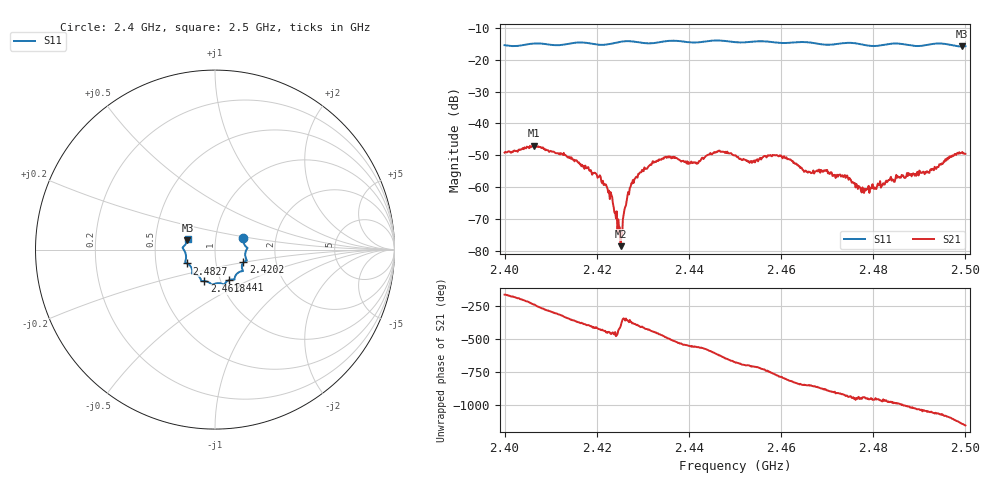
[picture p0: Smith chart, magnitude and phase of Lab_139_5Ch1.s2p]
# Hz S RI R 50
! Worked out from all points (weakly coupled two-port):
!   601 points, 2.4 GHz to 2.5 GHz, reference 50 ohm
!   highest |S21| = -47.01 dB at 2.4063 GHz (marker M1); lowest = -78.6 dB at 2.4252 GHz (marker M2)
!   lowest |S11| = -15.8 dB at 2.4993 GHz (marker M3), VSWR 1.39, Z = 36.5 + j3.85 ohm
!   |S11| at or under -10 dB: start of sweep to end of sweep
!   S12 and S22 are empty: the file has one direction only
!   S11 on the Smith chart (normalised r, x): 2.4 GHz: 1.36, +0.18; 2.4202 GHz: 1.36, -0.20; 2.441 GHz: 1.10, -0.39; 2.4618 GHz: 0.84, -0.30; 2.4827 GHz: 0.72, -0.11; 2.5 GHz: 0.73, +0.09
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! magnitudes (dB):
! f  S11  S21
! 2.4 GHz  -15.4  -49.1
! 2.4063 GHz  -14.9  -47.0
! 2.4167 GHz  -14.5  -53.4
! 2.4202 GHz  -15.2  -57.0
! 2.4228 GHz  -15.0  -63.8
! 2.4252 GHz  -14.3  -78.6
! 2.4277 GHz  -14.2  -58.9
! 2.4333 GHz  -14.5  -51.8
! 2.441 GHz  -14.6  -52.4
! 2.4462 GHz  -13.9  -48.9
! 2.45 GHz  -14.4  -50.0
! 2.4533 GHz  -14.4  -51.9
! 2.4587 GHz  -14.5  -50.0
! 2.4618 GHz  -14.6  -51.4
! 2.4667 GHz  -14.6  -55.6
! 2.4738 GHz  -14.7  -56.2
! 2.4778 GHz  -15.3  -61.5
! 2.4827 GHz  -15.2  -58.4
! 2.4833 GHz  -15.0  -57.7
! 2.4917 GHz  -15.3  -55.0
! 2.4993 GHz  -15.8  -49.0
! 2.5 GHz  -15.7  -49.5
